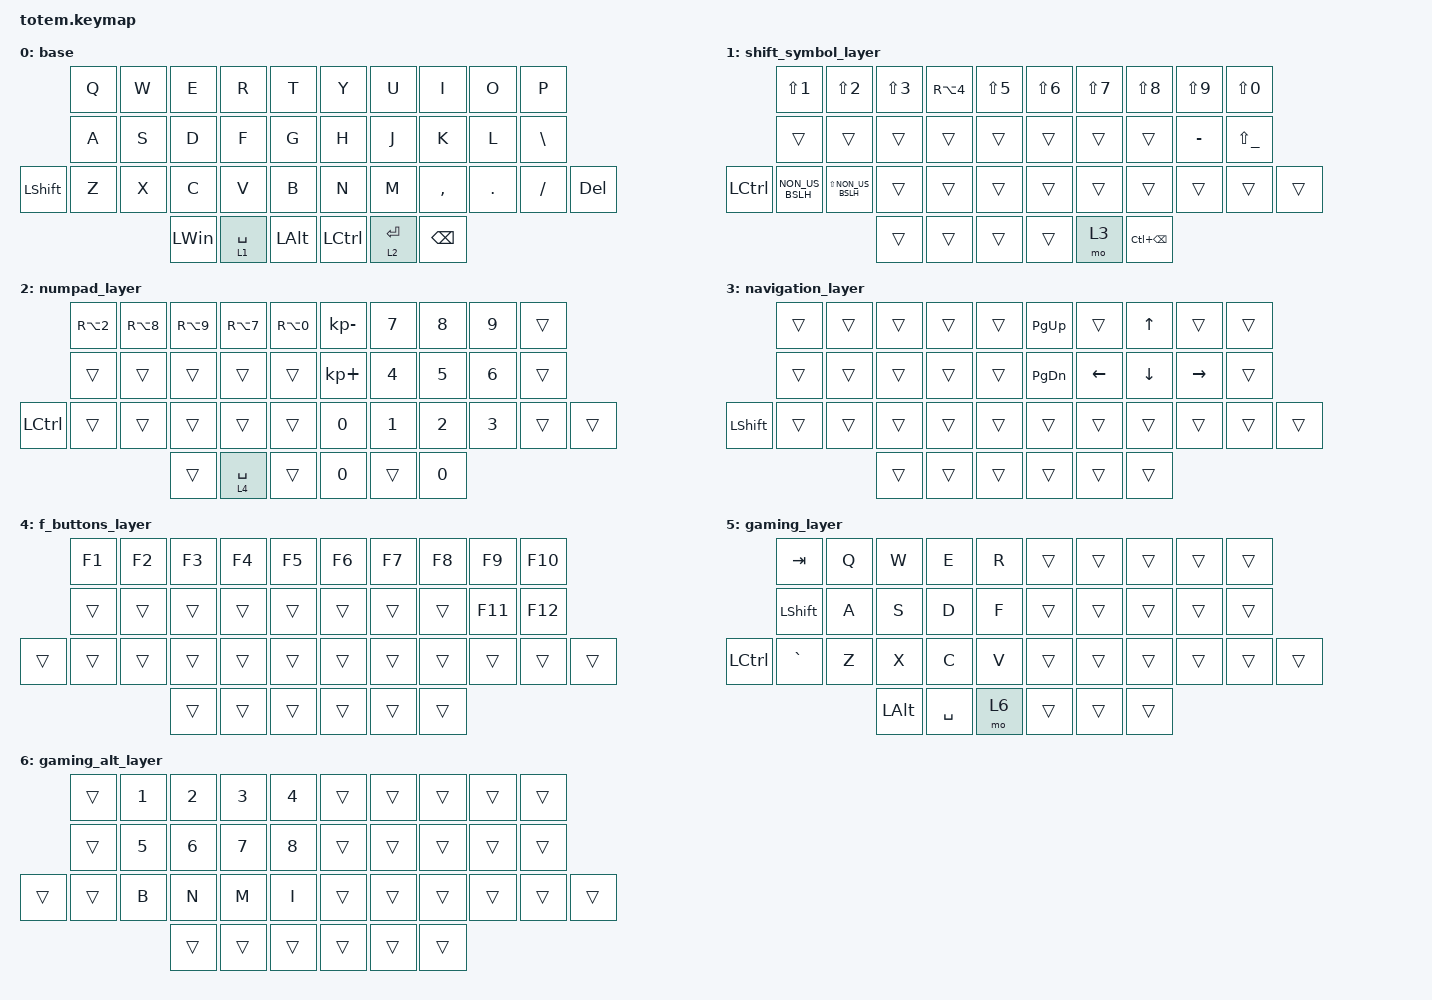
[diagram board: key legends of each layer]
//
//                                                        ▀▀▀▀▀     ▀▀▀▀▀          ▀▀█▀▀
//                                                        ▄▀▀▀▄  ▄  ▄▀▀▀▄  ▄  ▄▀▀▀▄  █  ▄▀▀▀▄
//                                                        █   █  █  █   █  █  █   █  █  █   █
//                                                         ▀▀▀   █   ▀▀▀   █   ▀▀▀   ▀   ▀▀▀
//                                                               █      ▄▄▄█▄▄▄    █   █  
//                                                               ▀      █  █  █     █▄█
//                                                             ▀▀▀▀▀    █  █  █      ▀
//                                                                      ▀  ▀  ▀
//
// ▄▄▄▄▄▄▄▄▄▄▄▄▄▄▄▄▄▄▄▄▄▄▄▄▄▄▄▄▄▄▄▄▄▄▄▄▄▄▄▄▄▄▄▄▄▄▄▄▄▄▄▄▄▄▄▄▄▄▄▄▄▄▄▄▄▄▄▄▄▄▄▄▄▄▄▄▄▄▄▄▄▄▄▄▄▄▄▄▄▄▄▄▄▄▄▄▄▄▄▄▄▄▄▄▄▄▄▄▄▄▄▄▄▄▄▄▄▄▄▄▄▄▄▄▄▄▄▄▄▄▄▄▄▄▄▄▄▄▄▄▄▄▄▄▄▄▄▄▄

#include <behaviors.dtsi>
#include <dt-bindings/zmk/keys.h>

#define BASE 0
#define NAV  1
#define SYM  2
#define ADJ  3
#define TVP1 4
#define TVP2 5

&mt {
    quick-tap-ms = <100>;
    global-quick-tap;
    flavor = "tap-preferred";
    tapping-term-ms = <170>;
};

/ {
    combos {
        compatible = "zmk,combos";

        combo_esc {
            timeout-ms = <50>;
            key-positions = <0 1>;
            bindings = <&kp ESC>;
        };

        combo_tab {
            bindings = <&kp TAB>;
            key-positions = <10 11>;
        };

        combo_a {
            bindings = <&kp LEFT_BRACKET>;
            key-positions = <8 9>;
        };

        combo_ae {
            bindings = <&kp SINGLE_QUOTE>;
            key-positions = <18 19>;
        };

        combo_o {
            bindings = <&kp SEMICOLON>;
            key-positions = <29 30>;
        };

        toggle_gaming {
            bindings = <&tog 5>;
            key-positions = <11 12 13>;
        };
    };

    macros {
        gif: gif {
            label = "giphy";
            compatible = "zmk,behavior-macro";
            #binding-cells = <0>;
            bindings =
                <&macro_press>,
                <&kp LSHFT>,
                <&macro_tap>,
                <&kp N2>,
                <&macro_release>,
                <&kp LSHFT>,
                <&macro_tap>,
                <&kp G &kp I &kp F>;
        };
    };

    keymap {
        compatible = "zmk,keymap";

        base_layer {
            label = "base";
            bindings = <
                &kp Q  &kp W  &kp E         &kp R        &kp T           &kp Y             &kp U        &kp I      &kp O    &kp P
                &kp A  &kp S  &kp D         &kp F        &kp G           &kp H             &kp J        &kp K      &kp L    &kp BSLH
&kp LEFT_SHIFT  &kp Z  &kp X  &kp C         &kp V        &kp B           &kp N             &kp M        &kp COMMA  &kp DOT  &kp SLASH  &kp DELETE
                              &kp LEFT_WIN  &lt 1 SPACE  &kp LEFT_ALT    &kp LEFT_CONTROL  &lt 2 ENTER  &kp BSPC
            >;
        };

        shift_symbol_layer {
            bindings = <
           &kp LS(NUMBER_1)  &kp LS(NUMBER_2)     &kp LS(NUMBER_3)  &kp RA(NUMBER_4)  &kp LS(N5)    &kp LS(NUMBER_6)  &kp LS(N7)  &kp LS(N8)         &kp LS(N9)  &kp LS(N0)
           &trans            &trans               &trans            &trans            &trans        &trans            &trans      &trans             &kp MINUS   &kp LS(UNDER)
&kp LCTRL  &kp NON_US_BSLH   &kp LS(NON_US_BSLH)  &trans            &trans            &trans        &trans            &trans      &trans             &trans      &trans         &trans
                                                  &trans            &trans            &trans        &trans            &mo 3       &kp LC(BACKSPACE)
            >;
        };

        numpad_layer {
            bindings = <
           &kp RA(NUMBER_2)  &kp RA(N8)  &kp RA(N9)  &kp RA(N7)   &kp RA(N0)    &kp KP_MINUS  &kp N7  &kp N8  &kp N9  &trans
           &trans            &trans      &trans      &trans       &trans        &kp KP_PLUS   &kp N4  &kp N5  &kp N6  &trans
&kp LCTRL  &trans            &trans      &trans      &trans       &trans        &kp N0        &kp N1  &kp N2  &kp N3  &trans  &trans
                                         &trans      &lt 4 SPACE  &trans        &kp N0        &trans  &kp N0
            >;
        };

        navigation_layer {
            bindings = <
                &trans  &trans  &trans  &trans  &trans    &kp PG_UP  &trans          &kp UP_ARROW    &trans           &trans
                &trans  &trans  &trans  &trans  &trans    &kp PG_DN  &kp LEFT_ARROW  &kp DOWN_ARROW  &kp RIGHT_ARROW  &trans
&kp LEFT_SHIFT  &trans  &trans  &trans  &trans  &trans    &trans     &trans          &trans          &trans           &trans  &trans
                                &trans  &trans  &trans    &trans     &trans          &trans
            >;
        };

        f_buttons_layer {
            bindings = <
        &kp F1  &kp F2  &kp F3  &kp F4  &kp F5    &kp F6  &kp F7  &kp F8  &kp F9   &kp F10
        &trans  &trans  &trans  &trans  &trans    &trans  &trans  &trans  &kp F11  &kp F12
&trans  &trans  &trans  &trans  &trans  &trans    &trans  &trans  &trans  &trans   &trans   &trans
                        &trans  &trans  &trans    &trans  &trans  &trans
            >;
        };

        gaming_layer {
            bindings = <
           &kp TAB    &kp Q  &kp W     &kp E      &kp R    &trans  &trans  &trans  &trans  &trans
           &kp LSHFT  &kp A  &kp S     &kp D      &kp F    &trans  &trans  &trans  &trans  &trans
&kp LCTRL  &kp GRAVE  &kp Z  &kp X     &kp C      &kp V    &trans  &trans  &trans  &trans  &trans  &trans
                             &kp LALT  &kp SPACE  &mo 6    &trans  &trans  &trans
            >;
        };

        gaming_alt_layer {
            bindings = <
        &trans  &kp N1  &kp N2  &kp N3  &kp N4    &trans  &trans  &trans  &trans  &trans
        &trans  &kp N5  &kp N6  &kp N7  &kp N8    &trans  &trans  &trans  &trans  &trans
&trans  &trans  &kp B   &kp N   &kp M   &kp I     &trans  &trans  &trans  &trans  &trans  &trans
                        &trans  &trans  &trans    &trans  &trans  &trans
            >;
        };
    };
};
